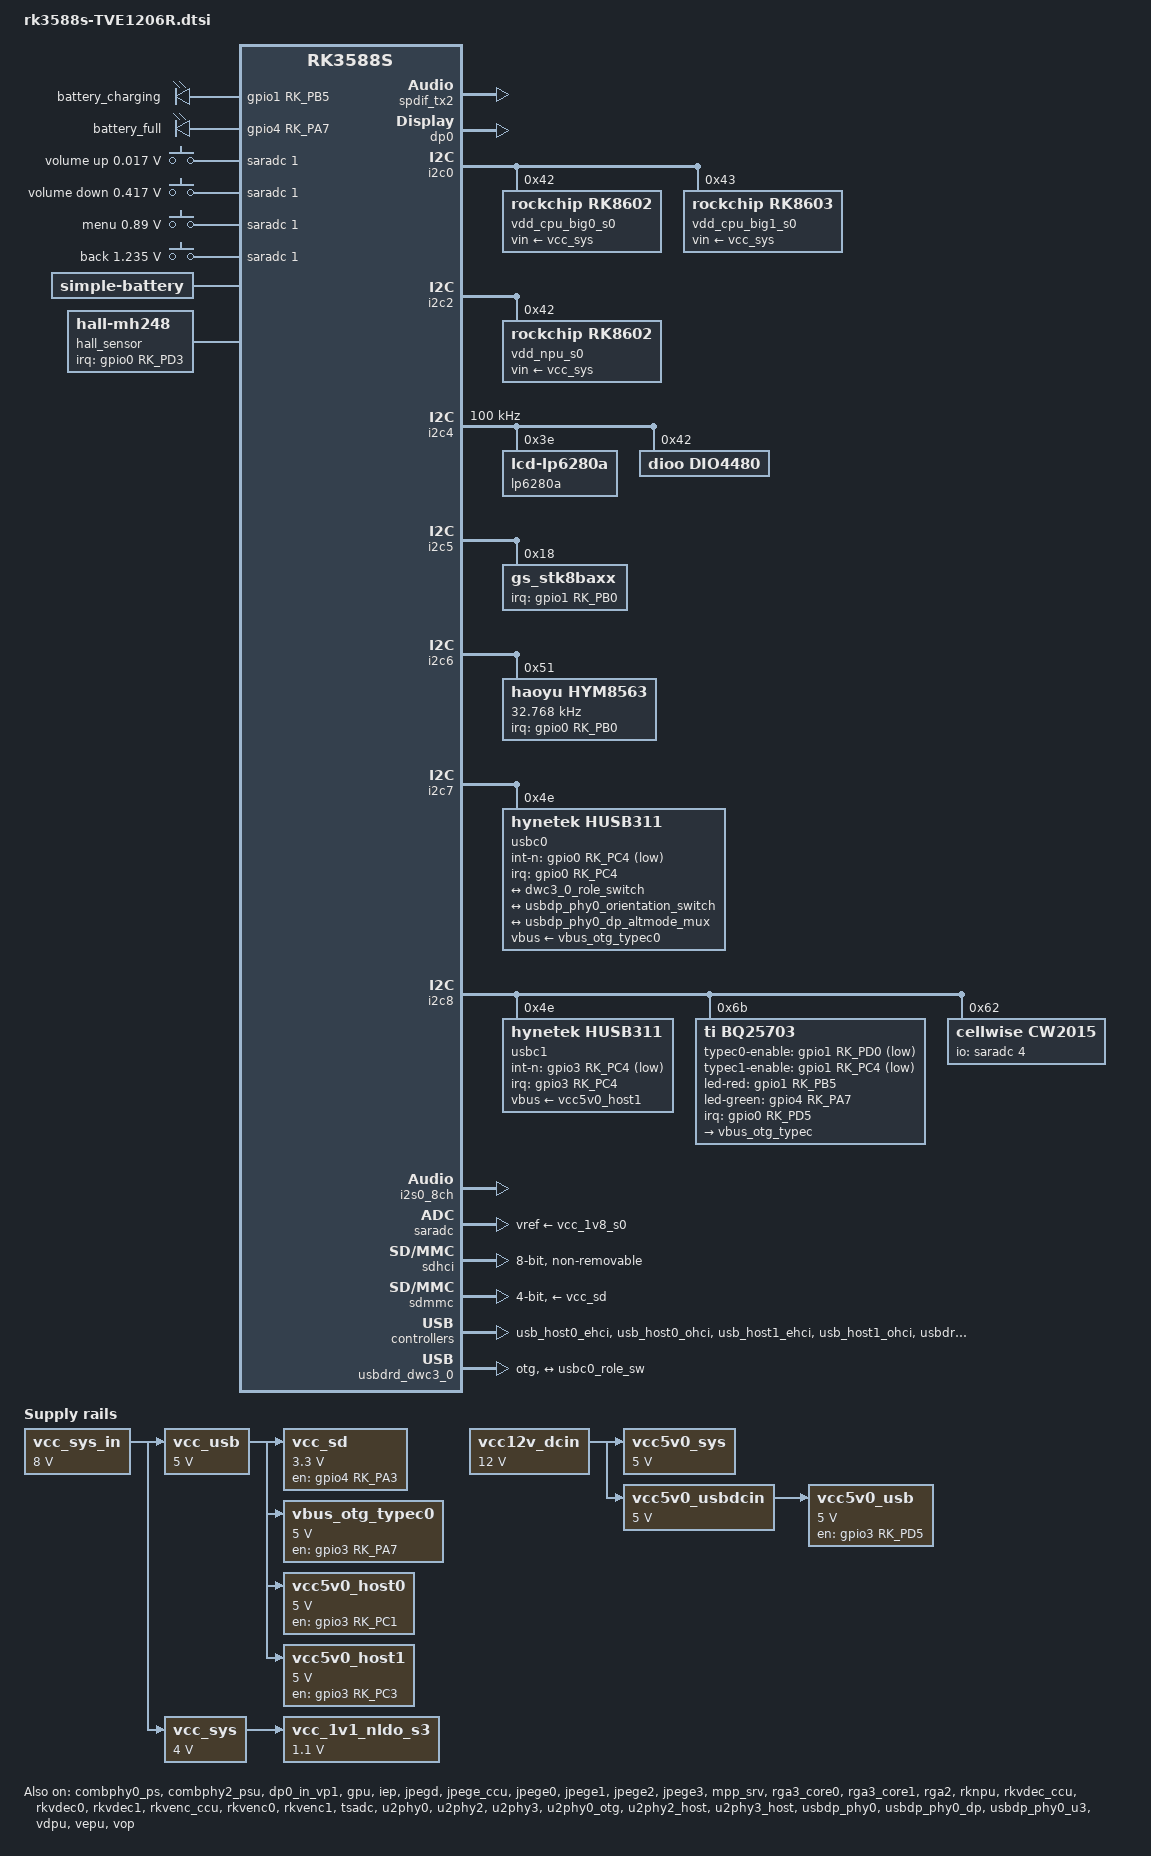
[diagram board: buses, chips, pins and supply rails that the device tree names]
// SPDX-License-Identifier: (GPL-2.0+ OR MIT)
/*
 * Copyright (c) 2021 Rockchip Electronics Co., Ltd.
 *
 */

#include <dt-bindings/gpio/gpio.h>
#include <dt-bindings/pwm/pwm.h>
#include <dt-bindings/pinctrl/rockchip.h>
#include <dt-bindings/input/rk-input.h>
#include <dt-bindings/display/drm_mipi_dsi.h>
#include <dt-bindings/display/rockchip_vop.h>
#include <dt-bindings/sensor-dev.h>

/ {
	leds {
		status = "okay";
		compatible = "gpio-leds";

		red-led {
			gpios = <&gpio1 RK_PB5 GPIO_ACTIVE_HIGH>;
			pinctrl-names = "default";
			pinctrl-0 = <&red_gpio>;
			label = "battery_charging";
			default-state = "off";
		};

		green-led {
			gpios = <&gpio4 RK_PA7 GPIO_ACTIVE_HIGH>;
			pinctrl-names = "default";
			pinctrl-0 = <&green_gpio>;
			label = "battery_full";
			default-state = "off";
		};
	};

	vcc_usb: vcc-usb {
		compatible = "regulator-fixed";
		regulator-name = "vcc_usb";
		regulator-always-on;
		regulator-boot-on;
		regulator-min-microvolt = <5000000>;
		regulator-max-microvolt = <5000000>;
		vin-supply = <&vcc_sys_in>;
	};

	vcc_sd: vcc-sd {
		compatible = "regulator-fixed";
		regulator-name = "vcc_sd";
		regulator-min-microvolt = <3300000>;
		regulator-max-microvolt = <3300000>;
		startup-delay-us = <100000>;
		enable-active-high;
		gpio = <&gpio4 RK_PA3 GPIO_ACTIVE_HIGH>;
		pinctrl-names = "default";
		pinctrl-0 = <&vcc_sd_en>;
		vin-supply = <&vcc_usb>;
	};

	vcc_1v1_nldo_s3: vcc-1v1-nldo-s3 {
		compatible = "regulator-fixed";
		regulator-name = "vcc_1v1_nldo_s3";
		regulator-always-on;
		regulator-boot-on;
		regulator-min-microvolt = <1100000>;
		regulator-max-microvolt = <1100000>;
		vin-supply = <&vcc_sys>;
	};

        //整个USB的供电
	vcc5v0_usb: vcc5v0-usb {
		compatible = "regulator-fixed";
		regulator-name = "vcc5v0_usb";
		regulator-always-on;
		regulator-boot-on;
		enable-active-high;
		gpio = <&gpio3 RK_PD5 GPIO_ACTIVE_HIGH>;
		pinctrl-names = "default";
		pinctrl-0 = <&vcc5v0_usb_en>;
	};

        //typec0的otg口供电
	vbus_otg_typec0: vbus-otg-typec0 {
		compatible = "regulator-fixed";
		regulator-name = "vbus_otg_typec0";
		regulator-min-microvolt = <5000000>;
		regulator-max-microvolt = <5000000>;
		enable-active-high;
		gpio = <&gpio3 RK_PA7 GPIO_ACTIVE_HIGH>;
		pinctrl-names = "default";
		pinctrl-0 = <&vbus_otg_typec0_en>;
		vin-supply = <&vcc_usb>;
	};

        //键盘的供电口
	vcc5v0_host0: vcc5v0-host0 {
		compatible = "regulator-fixed";
		regulator-name = "vcc5v0_host0";
		regulator-min-microvolt = <5000000>;
		regulator-max-microvolt = <5000000>;
		enable-active-high;
		gpio = <&gpio3 RK_PC1 GPIO_ACTIVE_HIGH>;
		pinctrl-names = "default";
		pinctrl-0 = <&vcc5v0_host0_en>;
		vin-supply = <&vcc_usb>;
		startup-delay-us = <100000>;
	};

	//USB20的TYPEC1供电
	vcc5v0_host1: vcc5v0-host1 {
		compatible = "regulator-fixed";
		regulator-name = "vcc5v0_host1";
		regulator-min-microvolt = <5000000>;
		regulator-max-microvolt = <5000000>;
		enable-active-high;
		gpio = <&gpio3 RK_PC3 GPIO_ACTIVE_HIGH>;
		pinctrl-names = "default";
		pinctrl-0 = <&vcc5v0_host1_en>;
		vin-supply = <&vcc_usb>;
	};

	// chg_path_sel0: chg-path-sel0 {
	// 	compatible = "regulator-fixed";
	// 	regulator-name = "chg_path_sel0";
	// 	regulator-boot-on;
	// 	enable-active-high;
	// 	regulator-always-on;
	// 	regulator-min-microvolt = <1800000>;
	// 	regulator-max-microvolt = <1800000>;
	// 	gpio = <&gpio1 RK_PC4 GPIO_ACTIVE_HIGH>;
	// 	pinctrl-names = "default";
	// 	pinctrl-0 = <&chg_path_sel0_en>;
	// };

	vcc_sys_in: vcc-sys-in {
		compatible = "regulator-fixed";
		regulator-name = "vcc_sys_in";
		regulator-always-on;
		regulator-boot-on;
		regulator-min-microvolt = <8000000>;
		regulator-max-microvolt = <8000000>;
	};

	vcc_sys: vcc-sys {
		compatible = "regulator-fixed";
		regulator-name = "vcc_sys";
		regulator-always-on;
		regulator-boot-on;
		regulator-min-microvolt = <4000000>;
		regulator-max-microvolt = <4000000>;
		vin-supply = <&vcc_sys_in>;
	};

	adc_keys: adc-keys {
		compatible = "adc-keys";
		io-channels = <&saradc 1>;
		io-channel-names = "buttons";
		keyup-threshold-microvolt = <1800000>;
		poll-interval = <100>;

		vol-up-key {
			label = "volume up";
			linux,code = <KEY_VOLUMEUP>;
			press-threshold-microvolt = <17000>;
		};

		vol-down-key {
			label = "volume down";
			linux,code = <KEY_VOLUMEDOWN>;
			press-threshold-microvolt = <417000>;
		};

		menu-key {
			label = "menu";
			linux,code = <KEY_MENU>;
			press-threshold-microvolt = <890000>;
		};

		back-key {
			label = "back";
			linux,code = <KEY_BACK>;
			press-threshold-microvolt = <1235000>;
		};
	};

	dp0_sound: dp0-sound {
		status = "okay";
		compatible = "rockchip,hdmi";
		rockchip,card-name= "rockchip,dp0";
		rockchip,mclk-fs = <512>;
		rockchip,cpu = <&spdif_tx2>;
		rockchip,codec = <&dp0 1>;
		rockchip,jack-det;
	};

	hdmi0_sound: hdmi0-sound {
		status = "disabled";
		compatible = "simple-audio-card";
		simple-audio-card,format = "i2s";
		simple-audio-card,mclk-fs = <128>;
		simple-audio-card,name = "rockchip,hdmi0";

		simple-audio-card,cpu {
			sound-dai = <&i2s5_8ch>;
		};
		simple-audio-card,codec {
			sound-dai = <&hdmi0>;
		};
	};

	spdif_tx1_dc: spdif-tx1-dc {
		status = "disabled";
		compatible = "linux,spdif-dit";
		#sound-dai-cells = <0>;
	};

	spdif_tx1_sound: spdif-tx1-sound {
		status = "disabled";
		compatible = "simple-audio-card";
		simple-audio-card,name = "rockchip,spdif-tx1";
		simple-audio-card,cpu {
			sound-dai = <&spdif_tx1>;
		};
		simple-audio-card,codec {
			sound-dai = <&spdif_tx1_dc>;
		};
	};

	test-power {
		status = "okay";
	};

	vcc12v_dcin: vcc12v-dcin {
		compatible = "regulator-fixed";
		regulator-name = "vcc12v_dcin";
		regulator-always-on;
		regulator-boot-on;
		regulator-min-microvolt = <12000000>;
		regulator-max-microvolt = <12000000>;
	};

	vcc5v0_sys: vcc5v0-sys {
		compatible = "regulator-fixed";
		regulator-name = "vcc5v0_sys";
		regulator-always-on;
		regulator-boot-on;
		regulator-min-microvolt = <5000000>;
		regulator-max-microvolt = <5000000>;
		vin-supply = <&vcc12v_dcin>;
	};

	vcc5v0_usbdcin: vcc5v0-usbdcin {
		compatible = "regulator-fixed";
		regulator-name = "vcc5v0_usbdcin";
		regulator-always-on;
		regulator-boot-on;
		regulator-min-microvolt = <5000000>;
		regulator-max-microvolt = <5000000>;
		vin-supply = <&vcc12v_dcin>;
	};

	vcc5v0_usb: vcc5v0-usb {
		compatible = "regulator-fixed";
		regulator-name = "vcc5v0_usb";
		regulator-always-on;
		regulator-boot-on;
		regulator-min-microvolt = <5000000>;
		regulator-max-microvolt = <5000000>;
		vin-supply = <&vcc5v0_usbdcin>;
	};

	battery: battery {
		compatible = "simple-battery";
		charge-full-design-microamp-hours = <4500000>;
	};

	charge-animation {
		compatible = "rockchip,uboot-charge";
		rockchip,uboot-charge-on = <1>;
		rockchip,android-charge-on = <0>;
		rockchip,uboot-low-power-voltage = <6650>;
		rockchip,screen-on-voltage = <6700>;
		// rockchip,uboot-exit-charge-level = <2>;
		// rockchip,uboot-exit-charge-auto = <1>;
		status = "okay";
	};

	hall_sensor: hall-mh248 {
		compatible = "hall-mh248";
		pinctrl-names = "default";
		pinctrl-0 = <&mh248_irq_gpio>;
		irq-gpio = <&gpio0 RK_PD3 IRQ_TYPE_EDGE_BOTH>;
		hall-active = <1>;
		status = "okay";
	};
};

&av1d_mmu {
	status = "okay";
};

&combphy0_ps {
	status = "okay";
};

&combphy2_psu {
	status = "okay";
};

&cpu_l0 {
	cpu-supply = <&vdd_cpu_lit_s0>;
	mem-supply = <&vdd_cpu_lit_mem_s0>;
};

&cpu_b0 {
	cpu-supply = <&vdd_cpu_big0_s0>;
	mem-supply = <&vdd_cpu_big0_mem_s0>;
};

&cpu_b2 {
	cpu-supply = <&vdd_cpu_big1_s0>;
	mem-supply = <&vdd_cpu_big1_mem_s0>;
};

&spdif_tx2 {
	status = "okay";
};

&dp0 {
	status = "okay";
};

&dp0_in_vp0 {
	status = "disabled";
};

&dp0_in_vp1 {
	status = "okay";
};

&dp0_in_vp2 {
	status = "disabled";
};

&i2c0 {
	status = "okay";
	pinctrl-names = "default";
	pinctrl-0 = <&i2c0m2_xfer>;

	vdd_cpu_big0_s0: vdd_cpu_big0_mem_s0: rk8602@42 {
		compatible = "rockchip,rk8602";
		reg = <0x42>;
		vin-supply = <&vcc_sys>;
		regulator-compatible = "rk860x-reg";
		regulator-name = "vdd_cpu_big0_s0";
		regulator-min-microvolt = <550000>;
		regulator-max-microvolt = <1050000>;
		regulator-ramp-delay = <2300>;
		rockchip,suspend-voltage-selector = <1>;
		regulator-boot-on;
		regulator-always-on;
		regulator-state-mem {
			regulator-off-in-suspend;
		};
	};

	vdd_cpu_big1_s0: vdd_cpu_big1_mem_s0: rk8603@43 {
		compatible = "rockchip,rk8603";
		reg = <0x43>;
		vin-supply = <&vcc_sys>;
		regulator-compatible = "rk860x-reg";
		regulator-name = "vdd_cpu_big1_s0";
		regulator-min-microvolt = <550000>;
		regulator-max-microvolt = <1050000>;
		regulator-ramp-delay = <2300>;
		rockchip,suspend-voltage-selector = <1>;
		regulator-boot-on;
		regulator-always-on;
		regulator-state-mem {
			regulator-off-in-suspend;
		};
	};
};

&i2c2 {
	status = "okay";
	pinctrl-names = "default";
	pinctrl-0 = <&i2c2m0_xfer>;

	vdd_npu_s0: vdd_npu_mem_s0: rk8602@42 {
		compatible = "rockchip,rk8602";
		reg = <0x42>;
		vin-supply = <&vcc_sys>;
		regulator-compatible = "rk860x-reg";
		regulator-name = "vdd_npu_s0";
		regulator-min-microvolt = <550000>;
		regulator-max-microvolt = <950000>;
		regulator-ramp-delay = <2300>;
		rockchip,suspend-voltage-selector = <1>;
		regulator-boot-on;
		regulator-always-on;
		regulator-state-mem {
			regulator-off-in-suspend;
		};
	};
};

&i2c4 {
	status = "okay";
	pinctrl-names = "default";
	pinctrl-0 = <&i2c4m3_xfer>;
	clock-frequency = <100000>;

	lp6280a: lp6280a@3e {
		status = "okay";
		compatible = "lcd-lp6280a";
		reg = <0x3e>;
	};

	dio4480@42 {
		compatible = "dioo,dio4480";
		reg = <0x42>;
		//enable-gpios = <&gpio4 RK_PB0 GPIO_ACTIVE_HIGH>;
		extcon = <&usbc0>;
		status = "okay";
	};
};

&i2c5 {
	status = "okay";
	pinctrl-names = "default";
	pinctrl-0 = <&i2c5m3_xfer>;

	gs_stk8baxx: gs_stk8baxx@18 {
		status = "okay";
		compatible = "gs_stk8baxx";
		pinctrl-names = "default";
		pinctrl-0 = <&da228_irq_gpio>;
		reg = <0x18>;
		irq-gpio = <&gpio1 RK_PB0 IRQ_TYPE_EDGE_RISING>;
		type = <SENSOR_TYPE_ACCEL>;
		irq_enable = <0>;
		poll_delay_ms = <30>;
		power-off-in-suspend = <1>;
		layout = <4>;
	};
};

&i2c6 {
	status = "okay";
	pinctrl-names = "default";
	pinctrl-0 = <&i2c6m4_xfer>;

	hym8563: hym8563@51 {
		compatible = "haoyu,hym8563";
		reg = <0x51>;
		#clock-cells = <0>;
		clock-frequency = <32768>;
		clock-output-names = "hym8563";
		pinctrl-names = "default";
		pinctrl-0 = <&hym8563_int>;
		interrupt-parent = <&gpio0>;
		interrupts = <RK_PB0 IRQ_TYPE_LEVEL_LOW>;
		wakeup-source;
		status = "okay";
	};
};

&i2c7 {
	status = "okay";
	pinctrl-names = "default";
	pinctrl-0 = <&i2c7m3_xfer>;

	usbc0: husb311@4e {
		compatible = "hynetek,husb311";
		reg = <0x4e>;
		interrupt-parent = <&gpio0>;
		interrupts = <RK_PC4 IRQ_TYPE_LEVEL_LOW>;
		int-n-gpios = <&gpio0 RK_PC4 GPIO_ACTIVE_LOW>;
		pinctrl-names = "default";
		pinctrl-0 = <&usbc0_int>;
		vbus-supply = <&vbus_otg_typec0>;
		status = "okay";

		ports {
			#address-cells = <1>;
			#size-cells = <0>;

			port@0 {
				reg = <0>;
				usbc0_role_sw: endpoint@0 {
					remote-endpoint = <&dwc3_0_role_switch>;
				};
			};
		};

		usb_con0: connector {
			compatible = "usb-c-connector";
			label = "USB-C";
			data-role = "dual";
			power-role = "dual";
			try-power-role = "sink";
			op-sink-microwatt = <1000000>;
			sink-pdos =
				<PDO_FIXED(5000, 3000, PDO_FIXED_USB_COMM)
				 PDO_FIXED(9000, 3000, PDO_FIXED_USB_COMM)
				 PDO_FIXED(12000, 3000, PDO_FIXED_USB_COMM)>;
			source-pdos =
				<PDO_FIXED(5000, 3000, PDO_FIXED_USB_COMM)>;

			altmodes {
				#address-cells = <1>;
				#size-cells = <0>;

				altmode@0 {
					reg = <0>;
					svid = <0xff01>;
					vdo = <0xffffffff>;
				};
			};

			ports {
				#address-cells = <1>;
				#size-cells = <0>;

				port@0 {
					reg = <0>;
					usbc0_orien_sw: endpoint {
						remote-endpoint = <&usbdp_phy0_orientation_switch>;
					};
				};

				port@1 {
					reg = <1>;
					dp_altmode_mux: endpoint {
						remote-endpoint = <&usbdp_phy0_dp_altmode_mux>;
					};
				};
			};
		};
	};
};

&i2c8 {
	status = "okay";
	pinctrl-names = "default";
	pinctrl-0 = <&i2c8m2_xfer>;

	usbc1: husb311@4e {
		compatible = "hynetek,husb311";
		reg = <0x4e>;
		interrupt-parent = <&gpio3>;
		interrupts = <RK_PC4 IRQ_TYPE_LEVEL_LOW>;
		int-n-gpios = <&gpio3 RK_PC4 GPIO_ACTIVE_LOW>;
		pinctrl-names = "default";
		pinctrl-0 = <&usbc1_int>;
		vbus-supply = <&vcc5v0_host1>;
		status = "okay";

		usb_con1: connector {
			compatible = "usb-c-connector";
			label = "USB-C";
			data-role = "dual";
			power-role = "dual";
			try-power-role = "sink";
			op-sink-microwatt = <1000000>;
			sink-pdos =
				<PDO_FIXED(5000, 3000, PDO_FIXED_USB_COMM)
				 PDO_FIXED(9000, 3000, PDO_FIXED_USB_COMM)
				 PDO_FIXED(12000, 3000, PDO_FIXED_USB_COMM)>;
			source-pdos =
				<PDO_FIXED(5000, 3000, PDO_FIXED_USB_COMM)>;
		};
	};

	bq25703: bq25703@6b {
		status = "okay";
		compatible = "ti,bq25703";
		reg = <0x6b>;

		typec0-enable-gpios = <&gpio1 RK_PD0 GPIO_ACTIVE_LOW>;
		typec1-enable-gpios = <&gpio1 RK_PC4 GPIO_ACTIVE_LOW>;
		led-red-gpios = <&gpio1 RK_PB5 GPIO_ACTIVE_HIGH>;
		led-green-gpios = <&gpio4 RK_PA7 GPIO_ACTIVE_HIGH>;

		interrupt-parent = <&gpio0>;
		interrupts = <RK_PD5 IRQ_TYPE_LEVEL_LOW>;
		pinctrl-names = "default";
		pinctrl-0 = <&bq25703_int &bq25703_gpios>;

		extcon = <&u2phy0>;
		ti,usb-charger-detection = <&usbc0>, <&usbc1>;
		//ti,usb-charger-detection = <&usbc0>;

		ti,charge-current = <2500000>;
		ti,max-input-voltage = <20000000>;
		ti,max-input-current = <6000000>;
		ti,max-charge-voltage = <8700000>;
		ti,input-current-sdp = <500000>;
		ti,input-current-dcp = <2000000>;
		ti,input-current-cdp = <2000000>;
		ti,minimum-sys-voltage = <6700000>;
		ti,otg-voltage = <5000000>;
		ti,otg-current = <1500000>;
		pd-charge-only-typec0 = <0>;
		pd-charge-only-typec1 = <0>;

		vbus_otg_typec: vbus-otg-typec {
			compatible = "regulator-fixed";
			regulator-name = "vbus_otg_typec";
		};
	};

	cw2015@62 {
		status = "okay";
		compatible = "cellwise,cw2015";
		reg = <0x62>;
		cellwise,battery-profile = /bits/ 8
			<0x17 0x05 0x6B 0x67 0x66 0x63 0x61 0x54
			 0x78 0x47 0x52 0x55 0x5A 0x4A 0x3E 0x33
			 0x2A 0x23 0x1A 0x17 0x25 0x33 0x42 0x4C
			 0x17 0x70 0x08 0xF6 0x08 0x10 0x2A 0x3E
			 0x4B 0x52 0x57 0x5E 0x3F 0x1B 0x85 0x2A
			 0x08 0x1D 0x20 0x49 0x84 0x96 0xA0 0x1B
			 0x3F 0x62 0xA1 0xC5 0x80 0x5A 0x8C 0xCB
			 0x2F 0x00 0x64 0xA5 0xB5 0x0D 0xB8 0xA1>;
		cellwise,monitor-interval-ms = <5000>;
		cellwise,dual-cell = <1>;
		monitored-battery = <&battery>;
		power-supplies = <&bq25703>;
		io-channels = <&saradc 4>;
		io-channel-names = "battery_adc";
	};
};

&gpu {
	mali-supply = <&vdd_gpu_s0>;
	mem-supply = <&vdd_gpu_mem_s0>;
	status = "okay";
};

&i2s0_8ch {
	status = "okay";
	pinctrl-0 = <&i2s0_lrck
		     &i2s0_sclk
		     &i2s0_sdi0
		     &i2s0_sdo0>;
};

&iep {
	status = "okay";
};

&iep_mmu {
	status = "okay";
};

&jpegd {
	status = "okay";
};

&jpegd_mmu {
	status = "okay";
};

&jpege_ccu {
	status = "okay";
};

&jpege0 {
	status = "okay";
};

&jpege0_mmu {
	status = "okay";
};

&jpege1 {
	status = "okay";
};

&jpege1_mmu {
	status = "okay";
};

&jpege2 {
	status = "okay";
};

&jpege2_mmu {
	status = "okay";
};

&jpege3 {
	status = "okay";
};

&jpege3_mmu {
	status = "okay";
};

&mpp_srv {
	status = "okay";
};

&rga3_core0 {
	status = "okay";
};

&rga3_0_mmu {
	status = "okay";
};

&rga3_core1 {
	status = "okay";
};

&rga3_1_mmu {
	status = "okay";
};

&rga2 {
	status = "okay";
};

&rknpu {
	rknpu-supply = <&vdd_npu_s0>;
	mem-supply = <&vdd_npu_mem_s0>;
	status = "okay";
};

&rknpu_mmu {
	status = "okay";
};

&rkvdec_ccu {
	status = "okay";
};

&rkvdec0 {
	status = "okay";
};

&rkvdec0_mmu {
	status = "okay";
};

&rkvdec1 {
	status = "okay";
};

&rkvdec1_mmu {
	status = "okay";
};

&rkvenc_ccu {
	status = "okay";
};

&rkvenc0 {
	status = "okay";
};

&rkvenc0_mmu {
	status = "okay";
};

&rkvenc1 {
	status = "okay";
};

&rkvenc1_mmu {
	status = "okay";
};

&rockchip_suspend {
	status = "okay";
	rockchip,sleep-debug-en = <1>;
};

&saradc {
	status = "okay";
	vref-supply = <&vcc_1v8_s0>;
};

&sdhci {
	bus-width = <8>;
	no-sdio;
	no-sd;
	non-removable;
	max-frequency = <200000000>;
	mmc-hs400-1_8v;
	mmc-hs400-enhanced-strobe;
	status = "okay";
};

&sdmmc {
	max-frequency = <150000000>;
	no-sdio;
	no-mmc;
	bus-width = <4>;
	cap-mmc-highspeed;
	cap-sd-highspeed;
	disable-wp;
	sd-uhs-sdr104;
	vmmc-supply = <&vcc_sd>;
	vqmmc-supply = <&vccio_sd_s0>;
	pinctrl-names = "default";
	pinctrl-0 = <&sdmmc_bus4 &sdmmc_clk &sdmmc_cmd &sdmmc_det>;
	status = "okay";
};

&tsadc {
	status = "okay";
};

&u2phy0 {
	status = "okay";
};

&u2phy2 {
	status = "okay";
};

&u2phy3 {
	status = "okay";
};

&u2phy0_otg {
	rockchip,typec-vbus-det;
	status = "okay";
};

&u2phy2_host {
	phy-supply = <&vcc5v0_host0>;
	status = "okay";
};

&u2phy3_host {
	status = "okay";
};

&usbdp_phy0 {
	orientation-switch;
	svid = <0xff01>;
	sbu1-dc-gpios = <&gpio4 RK_PC0 GPIO_ACTIVE_HIGH>;
	sbu2-dc-gpios = <&gpio4 RK_PB4 GPIO_ACTIVE_HIGH>;
	status = "okay";

	port {
		#address-cells = <1>;
		#size-cells = <0>;

		usbdp_phy0_orientation_switch: endpoint@0 {
			reg = <0>;
			remote-endpoint = <&usbc0_orien_sw>;
		};

		usbdp_phy0_dp_altmode_mux: endpoint@1 {
			reg = <1>;
			remote-endpoint = <&dp_altmode_mux>;
		};
	};
};

&usbdp_phy0_dp {
	max-link-rate = <5400>; /* Maximum link rate supported by PHY (in Mbps) */
	status = "okay";
};

&usbdp_phy0_u3 {
	status = "okay";
};

&usb_host0_ehci {
	status = "okay";
};

&usb_host0_ohci {
	status = "okay";
};

&usb_host1_ehci {
	status = "okay";
};

&usb_host1_ohci {
	status = "okay";
};

&usbdrd3_0 {
	status = "okay";
};

&usbdrd_dwc3_0 {
	status = "okay";
	dr_mode = "otg";
	usb-role-switch;

	port {
		#address-cells = <1>;
		#size-cells = <0>;

		dwc3_0_role_switch: endpoint@0 {
			reg = <0>;
			remote-endpoint = <&usbc0_role_sw>;
		};
	};
};

&usbhost3_0 {
	status = "okay";
};

&usbhost_dwc3_0 {
	status = "okay";
};

&vdpu {
	status = "okay";
};

&vdpu_mmu {
	status = "okay";
};

&vepu {
	status = "okay";
};

&vop {
	status = "okay";
};

&vop_mmu {
	status = "okay";
};

/* vp0 & vp1 splice for 8K output */
&vp0 {
	rockchip,plane-mask = <(1 << ROCKCHIP_VOP2_CLUSTER0 | 1 << ROCKCHIP_VOP2_ESMART0)>;
	rockchip,primary-plane = <ROCKCHIP_VOP2_ESMART0>;
};

&vp1 {
	rockchip,plane-mask = <(1 << ROCKCHIP_VOP2_CLUSTER1 | 1 << ROCKCHIP_VOP2_ESMART1)>;
	rockchip,primary-plane = <ROCKCHIP_VOP2_ESMART1>;
};

&vp2 {
	rockchip,plane-mask = <(1 << ROCKCHIP_VOP2_CLUSTER2 | 1 << ROCKCHIP_VOP2_ESMART2)>;
	rockchip,primary-plane = <ROCKCHIP_VOP2_ESMART2>;
};

&vp3 {
	rockchip,plane-mask = <(1 << ROCKCHIP_VOP2_CLUSTER3 | 1 << ROCKCHIP_VOP2_ESMART3)>;
	rockchip,primary-plane = <ROCKCHIP_VOP2_ESMART3>;
};

&pinctrl {
	sdmmc_pwr {
		vcc_sd_en: vcc-sd-en {
			rockchip,pins = <4 RK_PA3 RK_FUNC_GPIO &pcfg_pull_none>;
		};
	};

	// dio4480 {
	// 	enable_gpios_en: enable-gpios-en {
	// 		rockchip,pins = <4 RK_PB0 RK_FUNC_GPIO &pcfg_pull_none>;
	// 	};
	// };

	usb {
		vcc5v0_usb_en: vcc5v0-usb-en {
			rockchip,pins = <3 RK_PD5 RK_FUNC_GPIO &pcfg_pull_none>;
		};

		vbus_otg_typec0_en: vbus-otg-typec0-en {
			rockchip,pins = <3 RK_PA7 RK_FUNC_GPIO &pcfg_pull_none>;
		};

		vcc5v0_host0_en: vcc5v0-host0-en {
			rockchip,pins = <3 RK_PC1 RK_FUNC_GPIO &pcfg_pull_none>;
		};

		vcc5v0_host1_en: vcc5v0-host1-en {
			rockchip,pins = <3 RK_PC3 RK_FUNC_GPIO &pcfg_pull_none>;
		};
	};

	usb-typec {
		usbc0_int: usbc0-int {
			rockchip,pins = <0 RK_PC4 RK_FUNC_GPIO &pcfg_pull_up>;
		};

		usbc1_int: usbc1-int {
			rockchip,pins = <3 RK_PC4 RK_FUNC_GPIO &pcfg_pull_up>;
		};
	};

	charger {
		red_gpio: red-gpio {
			rockchip,pins =
				<1 RK_PB5 RK_FUNC_GPIO &pcfg_pull_none>;
		};

		green_gpio: green-gpio {
			rockchip,pins =
				<4 RK_PA7 RK_FUNC_GPIO &pcfg_pull_none>;
		};

		bq25703_int: bq25703-int {
			rockchip,pins = <0 RK_PD5 RK_FUNC_GPIO &pcfg_pull_up>;
		};

		bq25703_gpios: bq25703-gpios {
			rockchip,pins =
				<1 RK_PD0 RK_FUNC_GPIO &pcfg_pull_none>,
				<1 RK_PC4 RK_FUNC_GPIO &pcfg_pull_none>,
				<1 RK_PB5 RK_FUNC_GPIO &pcfg_pull_none>,
				<4 RK_PA7 RK_FUNC_GPIO &pcfg_pull_none>;
		};

		// chg_path_sel0_en: chg-path-sel0-en {
		// 	rockchip,pins = <1 RK_PC4 RK_FUNC_GPIO &pcfg_pull_up>;
		// };
	};

	hym8563 {
		hym8563_int: hym8563-int {
			rockchip,pins = <0 RK_PB0 RK_FUNC_GPIO &pcfg_pull_up>;
		};
	};

	hall-248 {
		mh248_irq_gpio: mh248-irq-gpio {
			rockchip,pins = <0 RK_PD3 RK_FUNC_GPIO &pcfg_pull_up>;
		};
	};

	da228 {
		da228_irq_gpio: da228-irq-gpio {
			rockchip,pins = <1 RK_PB0 RK_FUNC_GPIO &pcfg_pull_none>;
		};
	};
        
};
